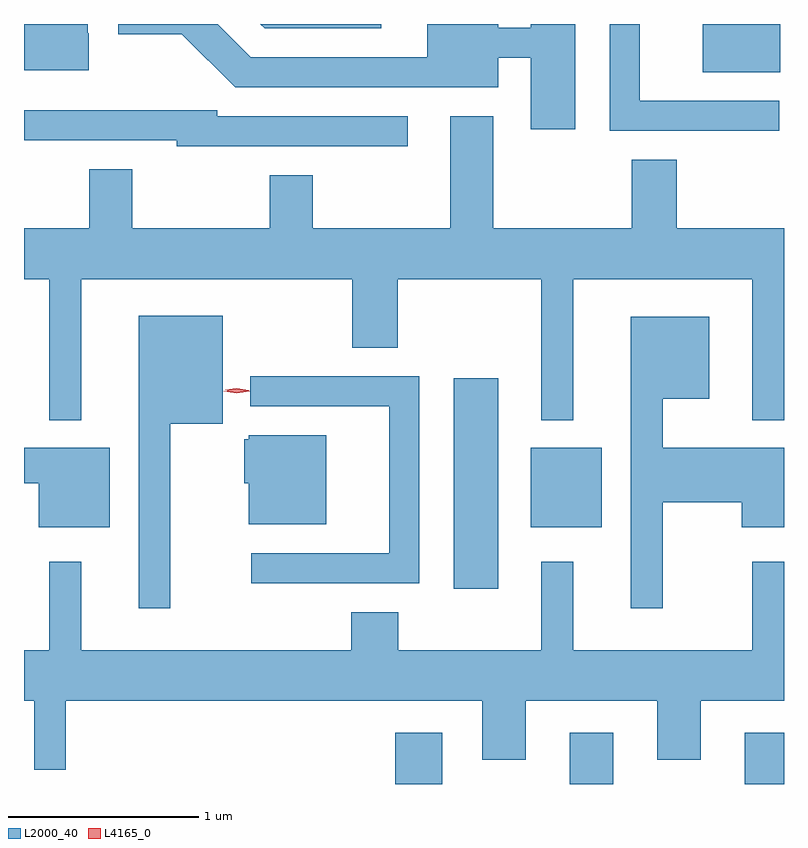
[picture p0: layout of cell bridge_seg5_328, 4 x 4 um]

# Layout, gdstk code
import gdstk
lib = gdstk.Library(unit=1e-6, precision=1e-09)
def R(c, l, rs):  # rectangles x0, y0, x1, y1
    for r in rs: c.add(gdstk.rectangle(r[:2], r[2:], *l))
def P(c, l, *ps):  # polygons
    for p in ps: c.add(gdstk.Polygon(p, *l))
L2000_40 = (2000, 40)
L4165_0 = (4165, 0)

bridge_seg5_328 = lib.new_cell('bridge_seg5_328')
R(bridge_seg5_328, L2000_40, [(749.971,1454.139,750.219,1454.409), (750.891,1454.139,751.119,1454.409), (751.811,1454.139,752.018,1454.409), (750.281,1455.166,750.514,1456.274), (750.686,1455.491,751.059,1455.909), (751.591,1457.886,751.999,1458.139)])
P(bridge_seg5_328, L2000_40, [(749.898,1458.139),(749.261,1458.139),(749.284,1458.116),(749.898,1458.116)],
  [(748.359,1458.09),(748.354,1458.09),(748.354,1458.139),(748.018,1458.139),(748.018,1457.896),(748.359,1457.896)],
  [(750.919,1458.139),(750.686,1458.139),(750.686,1458.119),(750.514,1458.119),(750.514,1458.139),(750.141,1458.139),(750.141,1457.964),(749.212,1457.964),(749.037,1458.139),(748.513,1458.139),(748.513,1458.086),(748.849,1458.086),(749.129,1457.806),(750.514,1457.806),(750.514,1457.961),(750.686,1457.961),(750.686,1457.586),(750.919,1457.586)],
  [(751.993,1457.734),(751.259,1457.734),(751.259,1458.139),(751.101,1458.139),(751.101,1457.576),(751.993,1457.576)],
  [(750.038,1457.654),(749.034,1457.654),(749.034,1457.684),(748.018,1457.684),(748.018,1457.526),(748.821,1457.526),(748.821,1457.496),(750.038,1457.496)],
  [(748.319,1456.796),(749.746,1456.796),(749.746,1456.436),(749.984,1456.436),(749.984,1456.796),(750.741,1456.796),(750.741,1456.053),(750.909,1456.053),(750.909,1456.796),(751.851,1456.796),(751.851,1456.053),(752.018,1456.053),(752.018,1457.064),(751.454,1457.064),(751.454,1457.424),(751.216,1457.424),(751.216,1457.064),(750.489,1457.064),(750.489,1457.654),(750.261,1457.654),(750.261,1457.064),(749.539,1457.064),(749.539,1457.344),(749.311,1457.344),(749.311,1457.064),(748.589,1457.064),(748.589,1457.374),(748.361,1457.374),(748.361,1457.064),(748.018,1457.064),(748.018,1456.796),(748.151,1456.796),(748.151,1456.053),(748.319,1456.053)],
  [(748.789,1456.036),(749.064,1456.036),(749.064,1456.604),(748.621,1456.604),(748.621,1455.063),(748.789,1455.063)],
  [(751.379,1455.621),(751.796,1455.621),(751.796,1455.491),(752.018,1455.491),(752.018,1455.909),(751.379,1455.909),(751.379,1456.166),(751.624,1456.166),(751.624,1456.599),(751.211,1456.599),(751.211,1455.063),(751.379,1455.063)],
  [(750.099,1456.284),(749.208,1456.284),(749.208,1456.126),(749.941,1456.126),(749.941,1455.354),(749.213,1455.354),(749.213,1455.196),(750.099,1455.196)],
  [(749.609,1455.974),(749.201,1455.974),(749.201,1455.953),(749.176,1455.953),(749.176,1455.721),(749.201,1455.721),(749.201,1455.506),(749.609,1455.506)],
  [(748.469,1455.909),(748.018,1455.909),(748.018,1455.721),(748.096,1455.721),(748.096,1455.491),(748.469,1455.491)],
  [(748.239,1454.576),(750.431,1454.576),(750.431,1454.266),(750.659,1454.266),(750.659,1454.576),(751.351,1454.576),(751.351,1454.266),(751.579,1454.266),(751.579,1454.576),(752.018,1454.576),(752.018,1455.308),(751.851,1455.308),(751.851,1454.844),(750.909,1454.844),(750.909,1455.308),(750.741,1455.308),(750.741,1454.844),(749.989,1454.844),(749.989,1455.044),(749.741,1455.044),(749.741,1454.844),(748.319,1454.844),(748.319,1455.308),(748.151,1455.308),(748.151,1454.844),(748.018,1454.844),(748.018,1454.576),(748.071,1454.576),(748.071,1454.213),(748.239,1454.213)])
P(bridge_seg5_328, L4165_0, [(749.137,1456.196),(749.069,1456.206),(749.068,1456.207),(749.069,1456.207),(749.137,1456.216),(749.205,1456.206),(749.206,1456.205),(749.205,1456.205)],
  [(749.139,1456.202),(749.076,1456.214),(749.076,1456.214),(749.076,1456.214),(749.139,1456.222),(749.202,1456.211),(749.202,1456.21),(749.202,1456.21)])

lib.write_gds('bridge_seg5_328.gds')
